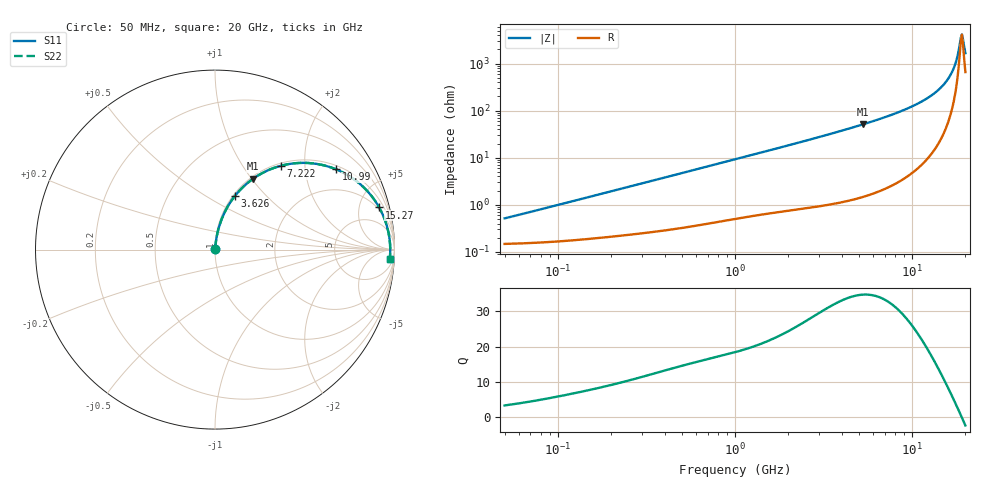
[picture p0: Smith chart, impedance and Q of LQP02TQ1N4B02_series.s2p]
!Murata Part Number: LQP02TQ1N4B02
!These Parameters are Measured in Series Mode Connection
!  o--[Z]--o
!Port1  Port2
!  o-------o
!Freq. Start=50[MHz] Stop=20[GHz], 401[Steps]
# Hz S RI R 50
!Freq.(Hz) S11(Real) S11(Imag) S21(Real) S21(Imag) S12(Real) S12(Imag) S22(Real) S22(Imag)
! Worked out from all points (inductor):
!   401 points, 50 MHz to 20 GHz, reference 50 ohm
!   read as one part in series: L = 1.57 nH near 51.52 MHz
!   highest Q = 34.7 at 5.273 GHz (marker M1), where L = 1.54 nH
!   self-resonance near 18.84 GHz
!   S11 on the Smith chart (normalised r, x): 50 MHz: 1.00, +0.01; 3.626 GHz: 1.02, +0.67; 7.222 GHz: 1.05, +1.50; 10.99 GHz: 1.13, +2.93; 15.27 GHz: 1.73, +7.52; 20 GHz: 14, -31
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5e7  0.0015 0.00494  0.9985 -0.00494  0.9985 -0.00494  0.0015 0.00494
1.364002e8  0.00201 0.0132  0.998 -0.0132  0.998 -0.0132  0.00201 0.0132
3.721004e8  0.00398 0.035  0.996 -0.035  0.996 -0.035  0.00398 0.035
1e9  0.0133 0.0907  0.9867 -0.0907  0.9867 -0.0907  0.0133 0.0907
1.689197e9  0.0297 0.149  0.9703 -0.149  0.9703 -0.149  0.0297 0.149
2.728004e9  0.0663 0.2318  0.9337 -0.2318  0.9337 -0.2318  0.0663 0.2318
3.626126e9  0.1096 0.2971  0.8904 -0.2971  0.8904 -0.2971  0.1096 0.2971
5.273168e9  0.2134 0.3956  0.7866 -0.3956  0.7866 -0.3956  0.2134 0.3956
7.222371e9  0.3656 0.4667  0.6344 -0.4667  0.6344 -0.4667  0.3656 0.4667
7.442007e9  0.384 0.4712  0.616 -0.4712  0.616 -0.4712  0.384 0.4712
9.178299e9  0.5306 0.4817  0.4694 -0.4817  0.4694 -0.4817  0.5306 0.4817
1.098561e10  0.6752 0.4471  0.3248 -0.4471  0.3248 -0.4471  0.6752 0.4471
1.334722e10  0.8292 0.3462  0.1708 -0.3462  0.1708 -0.3462  0.8292 0.3462
1.527346e10  0.9146 0.2351  0.0854 -0.2351  0.0854 -0.2351  0.9146 0.2351
1.621653e10  0.9425 0.1765  0.0575 -0.1765  0.0575 -0.1765  0.9425 0.1765
1.721783e10  0.9625 0.1136  0.0375 -0.1136  0.0375 -0.1136  0.9625 0.1136
1.774144e10  0.9693 0.081  0.0307 -0.081  0.0307 -0.081  0.9693 0.081
1.855685e10  0.9754 0.0312  0.0246 -0.0312  0.0246 -0.0312  0.9754 0.0312
1.88369e10  0.9762 0.0145  0.0238 -0.0145  0.0238 -0.0145  0.9762 0.0145
1.912117e10  0.9765 -0.0023  0.0235 0.0023  0.0235 0.0023  0.9765 -0.0023
1.940974e10  0.9762 -0.0191  0.0238 0.0191  0.0238 0.0191  0.9762 -0.0191
2e10  0.9739 -0.0525  0.0261 0.0525  0.0261 0.0525  0.9739 -0.0525
